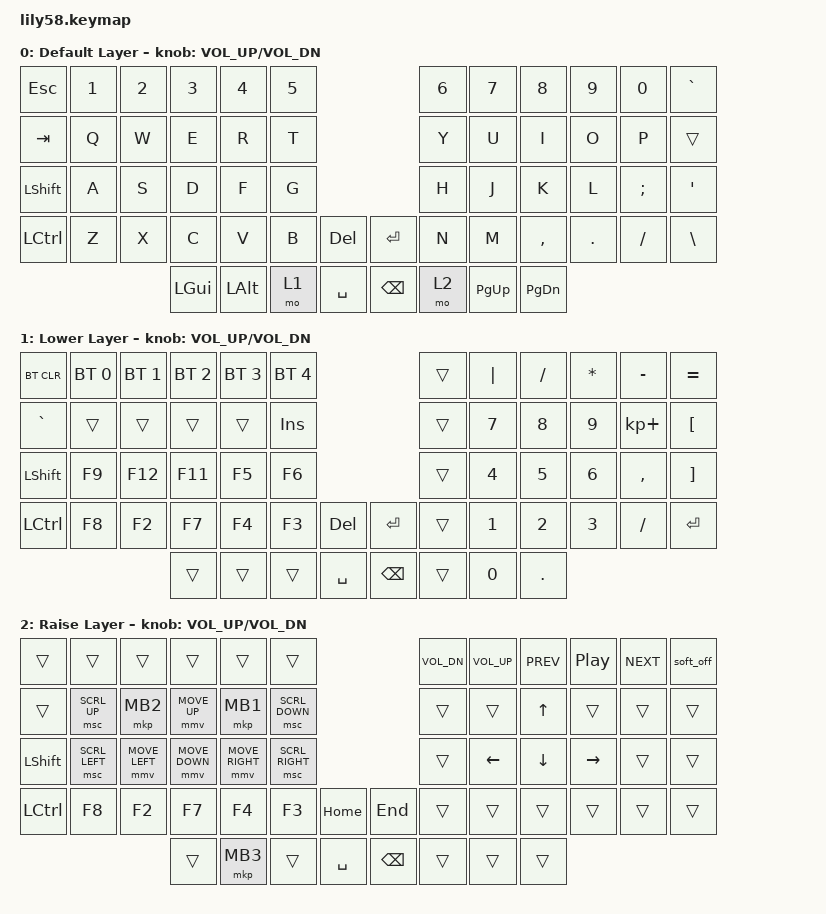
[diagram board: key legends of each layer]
//7.31.26: trying double tap tap dance for layer swaps due to involuntary toggling - included shift / caps tap dance 

// Next implementations:
// Wire in the physical power off switches on both halves
// programming of the OLED screens to house custom designs
// Hold tap implementation for shift and capslock
// custom hold tap for left click on nav for drag functionality. 
// shift acceleration for mouse navigation?
// need to change the num pad , & / designations as I need to use both with the numpad (dates & lists of parts) - 12/17/25
// need to change the toggle layer setup - i'm consistently toggling when I don't want to - this is better, but may be good to further fine tune the timing
// change "+" to be numpad plus to work better with file explorer
// input "insert" key to allow ease of use with smartsheet




/*
 * Copyright (c) 2020 The ZMK Contributors
 *
 * SPDX-License-Identifier: MIT
 */



#include <behaviors.dtsi>
#include <dt-bindings/zmk/keys.h>
#include <dt-bindings/zmk/bt.h>
#include <dt-bindings/zmk/ext_power.h>
#include <dt-bindings/zmk/pointing.h>

#define ZMK_POINTING_DEFAULT_MOVE_VAL 2500 // default: 600
#define ZMK_POINTING_DEFAULT_SCRL_VAL 20    // default: 10

#define MO_TOG(layer) &mo_tog layer layer
#define CTRL_TOG(layer) &ctrl_tog layer layer



// defining tapdance behaviors for toggle layers. Goal is: tap = nothing, hold = momentary layer 2, double tap = toggle layer 2.
/ { 
   
    behaviors {
/* 	//need to spend more time with this one - currently only works with the momentary layer swap & doesn't toggle - bricks both boards until reset. switching back to &mo for now
        lay1_td: lay1_td {							// layer 1 Tap Dance behavior
            compatible = "zmk,behavior-tap-dance";
            #binding-cells = <0>; 
			//flavor = "hold-preferred";
            tapping-term-ms = <150>;
            bindings = <&none>, <&tog 1>;  		   	// Single tap = no operation, Double tap = toggle layer 1
        };

		lay1_ht: lay1_ht {							//layer 1 Hold tap behavior
	        compatible = "zmk,behavior-tap-dance";
            #binding-cells = <0>;
			//flavor = "hold-preferred";
            tapping-term-ms = <150>;
            bindings = <&mo 1>, <&lay1_td>;     		// Single tap = nothing,, Hold = momentary layer 1 swap, & double tap for toggle layer 1		
		};

        lay2_td: lay2_td {						// layer 2 Tap Dance behavior
            compatible = "zmk,behavior-tap-dance";
            #binding-cells = <0>; 
			//flavor = "hold-preferred";
            tapping-term-ms = <150>;
            bindings = <&none>, <&tog 2>;  		   	// Single tap = no operation, Double tap = toggle layer 2
        };

		lay2_ht: lay2_ht {							//layer 2 Hold tap behavior
	        compatible = "zmk,behavior-tap-dance";
            #binding-cells = <0>;
			//flavor = "hold-preferred";
            tapping-term-ms = <150>;
            bindings = <&mo 2>, <&lay2_td>;     		// Single tap = nothing,, Hold = momentary layer 2 swap, & double tap for toggle layer 2		
		};
*/		
		// This is good - but don't like the delay that is set to make sure I'm not double tapping it - drop mechanics in OSRS - hard to undo it once it's set
        shft_cps: shft_cps {				
            compatible = "zmk,behavior-tap-dance";
            #binding-cells = <0>;
			//flavor = "hold-preferred";
            tapping-term-ms = <150>;
            bindings = <&kp LSHIFT>, <&kp CAPS>;     // Single tap/hold is Lshift, & Double tap is Caps lock

        };

        mo_tog: behavior_hold_tap {    
            compatible = "zmk,behavior-hold-tap";
            #binding-cells = <2>;
            flavor = "hold-preferred";            // This flavor allows for preference given to the momentary layer.
            tapping-term-ms = <100>;              // 200 ms time window to register as a 'double tap'
            quick-tap-ms = <100>;
            bindings = <&mo>, <&tog>;             // this will allow single tap to toggle the layer in question with a hold being the traditional momentary layer
        };
            // Still trying this code: for this test: single tap should be the number 6, hold for LCTRL, and Tap + CTRL for LSHIFT
            // this behavior needs to be called out as follows: "layer2_hold_or_toggle 'holding operation' 0" as it requires 2 entries but doesn't use '0' here.
            // tap and tap and hold are modified directly within the behavior itself.
			//7.31.26: this is what I was using before.
/*
        ctrl_tog: control_toggle_layer {
            compatible = "zmk,behavior-mod-morph";
            #binding-cells = <2>;
			bindings = <&mo>, <&tog>; // Default: momentary; +Ctrl: toggle
            mods = <(MOD_LCTL|MOD_RCTL)>;
        };
		&mmv {
		    x-input-code = <INPUT_REL_X>;
		    y-input-code = <INPUT_REL_Y>;
		    time-to-max-speed-ms = <600>;
		    acceleration-exponent = <1>;
		}
*/
    };

    keymap {
        compatible = "zmk,keymap";

        default_layer {
            display-name = "Default Layer";

// ------------------------------------------------------------------------------------------------------------
// |  ESC  |  1  |  2  |  3   |  4   |  5   |                   |  6   |  7    |  8    |  9   |   0   |   `   |
// |  TAB  |  Q  |  W  |  E   |  R   |  T   |                   |  Y   |  U    |  I    |  O   |   P   |   [   |
// | SHIFT |  A  |  S  |  D   |  F   |  G   |                   |  H   |  J    |  K    |  L   |   ;   |   '   |
// | CTRL  |  Z  |  X  |  C   |  V   |  B   |   DEL  |  | ENTER |  N   |  M    |  ,    |  .   |   /   |   \   |
//                     | GUI  | ALT  | LOWER|  SPACE |  | BSPC  | RAISE| pgup  | pgdwn |
            bindings = <
&kp ESC   &kp N1 &kp N2 &kp N3   &kp N4   &kp N5                      &kp N6 &kp N7     &kp N8    &kp N9  &kp N0   &kp GRAVE
&kp TAB   &kp Q  &kp W  &kp E    &kp R    &kp T                       &kp Y  &kp U      &kp I     &kp O   &kp P    &trans
&kp LSHFT &kp A  &kp S  &kp D    &kp F    &kp G                       &kp H  &kp J      &kp K     &kp L   &kp SEMI &kp SQT
&kp LCTRL &kp Z  &kp X  &kp C    &kp V    &kp B  &kp DEL    &kp RET   &kp N  &kp M      &kp COMMA &kp DOT &kp FSLH &kp BSLH
                        &kp LGUI &kp LALT &mo 1  &kp SPACE  &kp BSPC  &mo 2  &kp PG_UP &kp PG_DN
            >;

            sensor-bindings = <&inc_dec_kp C_VOL_UP C_VOL_DN>;
        };

        lower_layer { 		// Layer  1: Numpad, music, & BT layer. 
            display-name = "Lower Layer";
// ------------------------------------------------------------------------------------------------------------
// | BTCLR | BT1 | BT2 |  BT3 |  BT4 |  BT5 |                   |      |  "|"  |   /   |   *   |   -   |   =   |
// |   `   |  1  |  2  |  3   |  4   |  5   |                   |      |   7   |   8   |   9   |   +   |   [   |
// | SHIFT |  F9 | F12 | F11  |  F5  |  F6  |                   |      |   4   |   5   |   6   |   ,   |   ]   |
// | CTRL  |  F8 |  F2 |  F7  |  F4  |  F3  |  DEL   |  | ENTER |      |   1   |   2   |   3   |   /   | enter |
//                     |      |      |      |  space |  |  bpsc |      |   0   |   .   |
            bindings = <
&bt BT_CLR &bt BT_SEL 0   &bt BT_SEL 1   &bt BT_SEL 2    &bt BT_SEL 3 &bt BT_SEL 4             &trans    &kp PIPE  &kp FSLH  &kp STAR    &kp MINUS    &kp EQUAL
&kp GRAVE &trans &trans  &trans   &trans  &kp INS                                              &trans    &kp N7    &kp N8    &kp N9      &kp KP_PLUS  &kp LBKT
&kp LSHFT &kp F9 &kp F12 &kp F11  &kp F5  &kp F6                                               &trans    &kp N4    &kp N5    &kp N6      &kp COMMA    &kp RBKT
&kp LCTRL &kp F8 &kp F2  &kp F7   &kp F4  &kp F3        &kp DEL    &kp RET                     &trans    &kp N1    &kp N2    &kp N3      &kp FSLH     &kp RET
                  &trans     &trans     &trans         &kp SPACE   &kp BSPC                    &trans    &kp N0    &kp DOT
            >;

            sensor-bindings = <&inc_dec_kp C_VOL_UP C_VOL_DN>;
        };

        raise_layer { 		//Layer 2: navigation layer
            display-name = "Raise Layer";
// ------------------------------------------------------------------------------------------------------------
// |       |     |     |      |      |      |                   | v_dwn| v_up  |  prev | play | next  | S_off |
// |       | sc_u| mr_c|  mup | ml_c | sc_d |                   |      |       |   ^   |      |       |       |
// | SHIFT | sc_l|mleft| mdwn |mright| sc_r |                   |      |   <-  |   v   |  ->  |       |       |
// | CTRL  |  F8 | F2  |  F7  |  F4  |  F3  |  HOME  |  |  END  |      |       |       |      |       |       |
//                     |      | mm_c |      |  space |  |  bpsc |      |       |       |
            bindings = <
&trans        &trans            &trans            &trans            &trans             &trans                                 &kp C_VOL_DN    &kp C_VOL_UP    &kp C_PREV     &kp C_PP        &kp C_NEXT     &soft_off
&trans        &msc SCRL_UP      &mkp MB2          &mmv MOVE_UP      &mkp MB1           &msc SCRL_DOWN                         &trans      &trans       &kp UP     &trans      &trans     &trans
&kp LSHFT     &msc SCRL_LEFT    &mmv MOVE_LEFT    &mmv MOVE_DOWN    &mmv MOVE_RIGHT    &msc SCRL_RIGHT                        &trans      &kp LEFT     &kp DOWN   &kp RIGHT   &trans     &trans
&kp LCTRL     &kp F8            &kp F2            &kp F7            &kp F4             &kp F3      &kp HOME     &kp END       &trans      &trans       &trans     &trans      &trans     &trans
                                                  &trans            &mkp MB3           &trans      &kp SPACE    &kp BSPC      &trans      &trans       &trans
            >;

            sensor-bindings = <&inc_dec_kp C_VOL_UP C_VOL_DN>;
        };
    };
};
